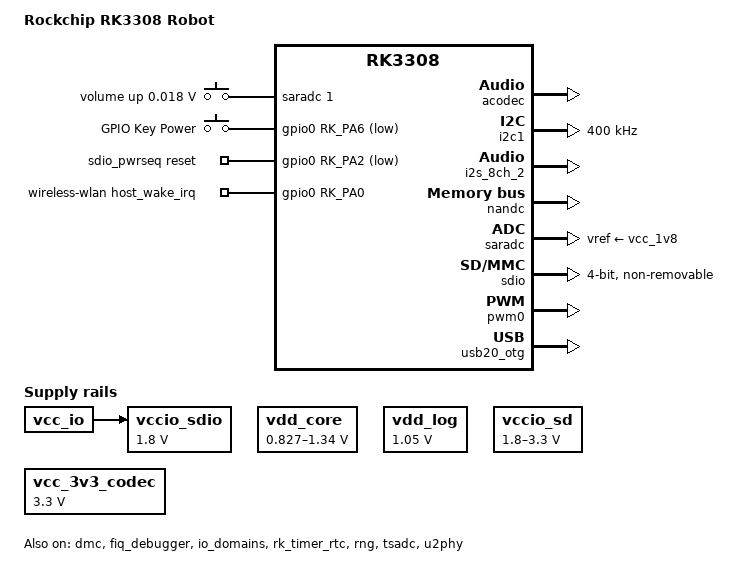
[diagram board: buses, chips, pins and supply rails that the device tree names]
// SPDX-License-Identifier: (GPL-2.0+ OR MIT)
/*
 * Copyright (c) 2019 Fuzhou Rockchip Electronics Co., Ltd
 */

/dts-v1/;

#include <dt-bindings/input/input.h>
#include "rk3308.dtsi"

/ {
	model = "Rockchip RK3308 Robot";
	compatible = "rockchip,rk3308-robot", "rockchip,rk3308";

	chosen {
		bootargs = "earlycon=uart8250,mmio32,0xff0c0000 swiotlb=1 console=ttyFIQ0 root=PARTUUID=614e0000-0000 rootfstype=squashfs rootwait";
	};

	adc-keys {
		compatible = "adc-keys";
		io-channels = <&saradc 1>;
		io-channel-names = "buttons";
		poll-interval = <100>;
		keyup-threshold-microvolt = <1800000>;

		vol-up-key {
			linux,code = <KEY_VOLUMEUP>;
			label = "volume up";
			press-threshold-microvolt = <18000>;
		};
	};

	gpio-keys {
		compatible = "gpio-keys";
		autorepeat;

		pinctrl-names = "default";
		pinctrl-0 = <&pwr_key>;

		power {
			gpios = <&gpio0 RK_PA6 GPIO_ACTIVE_LOW>;
			linux,code = <KEY_POWER>;
			label = "GPIO Key Power";
			wakeup-source;
			debounce-interval = <100>;
		};
	};

	sdio_pwrseq: sdio-pwrseq {
		compatible = "mmc-pwrseq-simple";
		pinctrl-names = "default";
		pinctrl-0 = <&wifi_enable_h>;

		/*
		 * On the module itself this is one of these (depending
		 * on the actual card populated):
		 * - SDIO_RESET_L_WL_REG_ON
		 * - PDN (power down when low)
		 */
		reset-gpios = <&gpio0 RK_PA2 GPIO_ACTIVE_LOW>;
	};

	acodec_sound: acodec-sound {
		compatible = "rockchip,multicodecs-card";
		rockchip,card-name = "rockchip,rk3308-acodec";
		rockchip,mclk-fs = <256>;
		rockchip,cpu = <&i2s_8ch_2>;
		rockchip,codec = <&acodec>;
	};

	vdd_core: vdd-core {
		compatible = "pwm-regulator";
		pwms = <&pwm0 0 5000 1>;
		regulator-name = "vdd_core";
		regulator-min-microvolt = <827000>;
		regulator-max-microvolt = <1340000>;
		regulator-init-microvolt = <1015000>;
		regulator-always-on;
		regulator-boot-on;
		regulator-settling-time-up-us = <250>;
		status = "okay";
	};

	vdd_log: vdd-log {
		compatible = "regulator-fixed";
		regulator-name = "vdd_log";
		regulator-always-on;
		regulator-boot-on;
		regulator-min-microvolt = <1050000>;
		regulator-max-microvolt = <1050000>;
	};

	vccio_sd: vccio-sd {
		compatible = "regulator-gpio";
		regulator-name = "vccio_sd";
		regulator-min-microvolt = <1800000>;
		regulator-max-microvolt = <3300000>;
		gpios = <&gpio0 RK_PB7 GPIO_ACTIVE_HIGH>;
		states = <1800000 0x0
			  3300000 0x1>;
	};

	vccio_sdio: vcc_1v8: vcc-1v8 {
		compatible = "regulator-fixed";
		regulator-name = "vcc_1v8";
		regulator-always-on;
		regulator-boot-on;
		regulator-min-microvolt = <1800000>;
		regulator-max-microvolt = <1800000>;
		vin-supply = <&vcc_io>;
	};

	vcc_3v3_codec: vcc_io: vcc-io {
		compatible = "regulator-fixed";
		regulator-name = "vcc_io";
		regulator-always-on;
		regulator-boot-on;
		regulator-min-microvolt = <3300000>;
		regulator-max-microvolt = <3300000>;
	};

	wireless-wlan {
		compatible = "wlan-platdata";
		rockchip,grf = <&grf>;
		pinctrl-names = "default";
		pinctrl-0 = <&wifi_wake_host>;
		wifi_chip_type = "ap6255";
		WIFI,host_wake_irq = <&gpio0 RK_PA0 GPIO_ACTIVE_HIGH>;
		status = "okay";
	};
};

&acodec {
	status = "okay";

	rockchip,no-deep-low-power;
	rockchip,loopback-grp = <0>;
	spk-ctl-gpios = <&gpio0 RK_PA5 GPIO_ACTIVE_HIGH>;
};

&cpu0 {
	cpu-supply = <&vdd_core>;
};

&cpu0_opp_table {
	opp-1200000000 {
		status = "okay";
	};
	opp-1296000000 {
		status = "okay";
	};
};

&rk3308bs_cpu0_opp_table {
	opp-1008000000 {
		status = "okay";
	};
	opp-1104000000 {
		status = "okay";
	};
};

&dmc {
	center-supply = <&vdd_log>;
	status = "okay";
};

&fiq_debugger {
	status = "okay";
};

&io_domains {
	status = "okay";

	vccio0-supply = <&vcc_io>;
	vccio1-supply = <&vcc_io>;
	vccio2-supply = <&vcc_1v8>;
	vccio3-supply = <&vcc_io>;
	vccio4-supply = <&vccio_sdio>;
	vccio5-supply = <&vccio_sd>;
};

&i2c1 {
	clock-frequency = <400000>;
	status = "okay";

};

&i2s_8ch_2 {
	rockchip,playback-only;
	status = "okay";
};

&nandc {
	status = "okay";
};

&rk_timer_rtc {
	status = "okay";
};

&rng {
	status = "okay";
};

&rockchip_suspend {
	rockchip,pwm-regulator-config = <
		(0
		| RKPM_PWM_REGULATOR
		)
	>;

	status = "okay";
};

&saradc {
	status = "okay";
	vref-supply = <&vcc_1v8>;
};

&sdio {
	bus-width = <4>;
	cap-sd-highspeed;
	supports-sdio;
	ignore-pm-notify;
	keep-power-in-suspend;
	non-removable;
	mmc-pwrseq = <&sdio_pwrseq>;
	sd-uhs-sdr104;
	status = "okay";
};

&tsadc {
	rockchip,hw-tshut-mode = <0>; /* tshut mode 0:CRU 1:GPIO */
	rockchip,hw-tshut-polarity = <1>; /* tshut polarity 0:LOW 1:HIGH */
	status = "okay";
};

&pinctrl {
	pinctrl-names = "default";
	pinctrl-0 = <&rtc_32k>;

	buttons {
		pwr_key: pwr-key {
			rockchip,pins = <0 RK_PA6 RK_FUNC_GPIO &pcfg_pull_up>;
		};
	};

	sdio-pwrseq {
		wifi_enable_h: wifi-enable-h {
			rockchip,pins = <0 RK_PA2 RK_FUNC_GPIO &pcfg_pull_none>;
		};
	};

	wireless-wlan {
		wifi_wake_host: wifi-wake-host {
			rockchip,pins = <0 RK_PA0 RK_FUNC_GPIO &pcfg_pull_up>;
		};
	};
};

&pwm0 {
	status = "okay";
	pinctrl-names = "active";
	pinctrl-0 = <&pwm0_pin_pull_down>;
};

&u2phy {
	status = "okay";

	u2phy_otg: otg-port {
		status = "okay";
	};
};

&usb20_otg {
	status = "okay";
};
